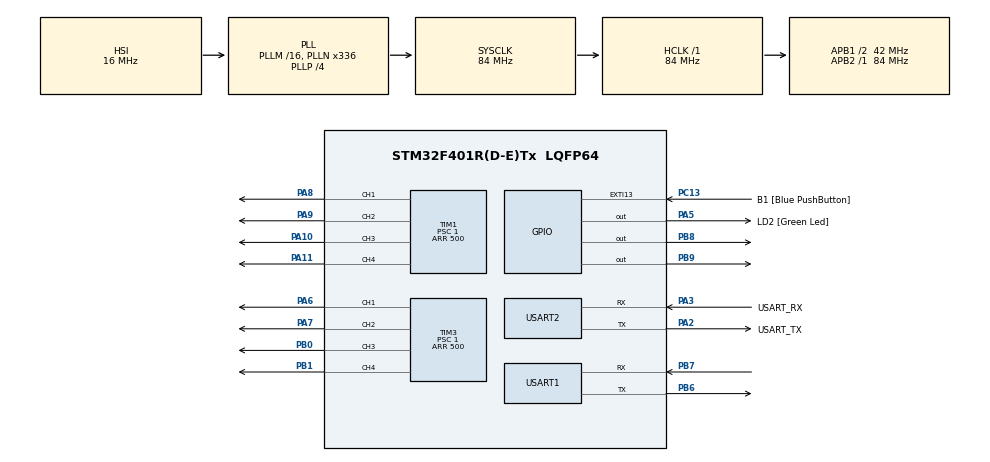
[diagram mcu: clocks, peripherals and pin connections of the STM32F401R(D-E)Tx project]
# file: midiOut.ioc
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Mcu.Family=STM32F4
Mcu.Name=STM32F401R(D-E)Tx
Mcu.Package=LQFP64
NVIC.PriorityGroup=NVIC_PRIORITYGROUP_0
NVIC.TIM1_UP_TIM10_IRQn=true\:0\:0\:false\:false\:true\:true
NVIC.USART2_IRQn=true\:0\:0\:false\:false\:true\:true
PA10.Signal=S_TIM1_CH3
PA11.Signal=S_TIM1_CH4
PA13.GPIO_Label=TMS
PA13.Signal=SYS_JTMS-SWDIO
PA14.GPIO_Label=TCK
PA14.Signal=SYS_JTCK-SWCLK
PA2.GPIO_Label=USART_TX
PA2.GPIO_Mode=GPIO_MODE_AF_PP
PA2.GPIO_PuPd=GPIO_NOPULL
PA2.GPIO_Speed=GPIO_SPEED_FREQ_LOW
PA2.Mode=Asynchronous
PA2.Signal=USART2_TX
PA3.GPIO_Label=USART_RX
PA3.GPIO_Mode=GPIO_MODE_AF_PP
PA3.GPIO_PuPd=GPIO_NOPULL
PA3.GPIO_Speed=GPIO_SPEED_FREQ_LOW
PA3.Mode=Asynchronous
PA3.Signal=USART2_RX
PA5.GPIO_Label=LD2 [Green Led]
PA5.GPIO_Mode=GPIO_MODE_OUTPUT_PP
PA5.GPIO_PuPd=GPIO_NOPULL
PA5.GPIO_Speed=GPIO_SPEED_FREQ_LOW
PA5.Signal=GPIO_Output
PA6.Signal=S_TIM3_CH1
PA7.Signal=S_TIM3_CH2
PA8.Signal=S_TIM1_CH1
PA9.Signal=S_TIM1_CH2
PB0.Signal=S_TIM3_CH3
PB1.Signal=S_TIM3_CH4
PB3.GPIO_Label=SWO
PB3.Signal=SYS_JTDO-SWO
PB6.Mode=Asynchronous
PB6.Signal=USART1_TX
PB7.Mode=Asynchronous
PB7.Signal=USART1_RX
PB8.Signal=GPIO_Output
PB9.Signal=GPIO_Output
PC13-ANTI_TAMP.GPIO_Label=B1 [Blue PushButton]
PC13-ANTI_TAMP.GPIO_ModeDefaultEXTI=GPIO_MODE_IT_FALLING
PC13-ANTI_TAMP.GPIO_PuPd=GPIO_NOPULL
PC13-ANTI_TAMP.Signal=GPXTI13
PC14-OSC32_IN.Signal=RCC_OSC32_IN
PC15-OSC32_OUT.Signal=RCC_OSC32_OUT
PH0\ -\ OSC_IN.Signal=RCC_OSC_IN
PH1\ -\ OSC_OUT.Signal=RCC_OSC_OUT
ProjectManager.HeapSize=0x200
ProjectManager.StackSize=0x400
ProjectManager.TargetToolchain=SW4STM32
RCC.AHBFreq_Value=84000000
RCC.APB1CLKDivider=RCC_HCLK_DIV2
RCC.APB1Freq_Value=42000000
RCC.APB1TimFreq_Value=84000000
RCC.APB2Freq_Value=84000000
RCC.APB2TimFreq_Value=84000000
RCC.CortexFreq_Value=84000000
RCC.HCLKFreq_Value=84000000
RCC.HSE_VALUE=8000000
RCC.HSI_VALUE=16000000
RCC.LSE_VALUE=32768
RCC.PLLN=336
RCC.PLLP=RCC_PLLP_DIV4
RCC.PLLQ=7
RCC.SYSCLKFreq_VALUE=84000000
RCC.SYSCLKSource=RCC_SYSCLKSOURCE_PLLCLK
RCC.VCOOutputFreq_Value=336000000
SH.S_TIM1_CH1.0=TIM1_CH1,PWM Generation1 CH1
SH.S_TIM1_CH2.0=TIM1_CH2,PWM Generation2 CH2
SH.S_TIM1_CH3.0=TIM1_CH3,PWM Generation3 CH3
SH.S_TIM1_CH4.0=TIM1_CH4,PWM Generation4 CH4
SH.S_TIM3_CH1.0=TIM3_CH1,PWM Generation1 CH1
SH.S_TIM3_CH2.0=TIM3_CH2,PWM Generation2 CH2
SH.S_TIM3_CH3.0=TIM3_CH3,PWM Generation3 CH3
SH.S_TIM3_CH4.0=TIM3_CH4,PWM Generation4 CH4
TIM1.Channel-PWM\ Generation1\ CH1=TIM_CHANNEL_1
TIM1.Channel-PWM\ Generation2\ CH2=TIM_CHANNEL_2
TIM1.Channel-PWM\ Generation3\ CH3=TIM_CHANNEL_3
TIM1.Channel-PWM\ Generation4\ CH4=TIM_CHANNEL_4
TIM1.CounterMode=TIM_COUNTERMODE_UP
TIM1.OCFastMode_PWM-PWM\ Generation1\ CH1=TIM_OCFAST_DISABLE
TIM1.OCFastMode_PWM-PWM\ Generation2\ CH2=TIM_OCFAST_DISABLE
TIM1.OCFastMode_PWM-PWM\ Generation3\ CH3=TIM_OCFAST_DISABLE
TIM1.OCFastMode_PWM-PWM\ Generation4\ CH4=TIM_OCFAST_DISABLE
TIM1.OCPolarity_1=TIM_OCPOLARITY_HIGH
TIM1.OCPolarity_2=TIM_OCPOLARITY_HIGH
TIM1.OCPolarity_3=TIM_OCPOLARITY_HIGH
TIM1.OCPolarity_4=TIM_OCPOLARITY_HIGH
TIM1.Period=500
TIM1.Prescaler=1
TIM1.Pulse-PWM\ Generation1\ CH1=500
TIM1.Pulse-PWM\ Generation2\ CH2=500
TIM1.Pulse-PWM\ Generation3\ CH3=500
TIM1.Pulse-PWM\ Generation4\ CH4=500
TIM10.Period=2000
TIM10.Prescaler=1
TIM3.Channel-PWM\ Generation1\ CH1=TIM_CHANNEL_1
TIM3.Channel-PWM\ Generation2\ CH2=TIM_CHANNEL_2
TIM3.Channel-PWM\ Generation3\ CH3=TIM_CHANNEL_3
TIM3.Channel-PWM\ Generation4\ CH4=TIM_CHANNEL_4
TIM3.CounterMode=TIM_COUNTERMODE_UP
TIM3.OCFastMode_PWM-PWM\ Generation1\ CH1=TIM_OCFAST_DISABLE
TIM3.OCFastMode_PWM-PWM\ Generation2\ CH2=TIM_OCFAST_DISABLE
TIM3.OCFastMode_PWM-PWM\ Generation3\ CH3=TIM_OCFAST_DISABLE
TIM3.OCFastMode_PWM-PWM\ Generation4\ CH4=TIM_OCFAST_DISABLE
TIM3.OCPolarity_1=TIM_OCPOLARITY_HIGH
TIM3.OCPolarity_2=TIM_OCPOLARITY_HIGH
TIM3.OCPolarity_3=TIM_OCPOLARITY_HIGH
TIM3.OCPolarity_4=TIM_OCPOLARITY_HIGH
TIM3.Period=500
TIM3.Prescaler=1
TIM3.Pulse-PWM\ Generation1\ CH1=500
TIM3.Pulse-PWM\ Generation2\ CH2=500
TIM3.Pulse-PWM\ Generation3\ CH3=500
TIM3.Pulse-PWM\ Generation4\ CH4=500
USART1.VirtualMode=VM_ASYNC
USART2.VirtualMode=VM_ASYNC
VP_TIM10_VS_ClockSourceINT.Mode=Enable_Timer
VP_TIM1_VS_ClockSourceINT.Mode=Internal
VP_TIM3_VS_ClockSourceINT.Mode=Internal
board=NUCLEO-F401RE

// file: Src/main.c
/**
  ******************************************************************************
  * File Name          : main.c
  * Description        : Main program body
  ******************************************************************************
  ** This notice applies to any and all portions of this file
  * that are not between comment pairs USER CODE BEGIN and
  * USER CODE END. Other portions of this file, whether
  * inserted by the user or by software development tools
  * are owned by their respective copyright owners.
  *
  * COPYRIGHT(c) 2018 STMicroelectronics
  *
  * Redistribution and use in source and binary forms, with or without modification,
  * are permitted provided that the following conditions are met:
  *   1. Redistributions of source code must retain the above copyright notice,
  *      this list of conditions and the following disclaimer.
  *   2. Redistributions in binary form must reproduce the above copyright notice,
  *      this list of conditions and the following disclaimer in the documentation
  *      and/or other materials provided with the distribution.
  *   3. Neither the name of STMicroelectronics nor the names of its contributors
  *      may be used to endorse or promote products derived from this software
  *      without specific prior written permission.
  *
  * THIS SOFTWARE IS PROVIDED BY THE COPYRIGHT HOLDERS AND CONTRIBUTORS "AS IS"
  * AND ANY EXPRESS OR IMPLIED WARRANTIES, INCLUDING, BUT NOT LIMITED TO, THE
  * IMPLIED WARRANTIES OF MERCHANTABILITY AND FITNESS FOR A PARTICULAR PURPOSE ARE
  * DISCLAIMED. IN NO EVENT SHALL THE COPYRIGHT HOLDER OR CONTRIBUTORS BE LIABLE
  * FOR ANY DIRECT, INDIRECT, INCIDENTAL, SPECIAL, EXEMPLARY, OR CONSEQUENTIAL
  * DAMAGES (INCLUDING, BUT NOT LIMITED TO, PROCUREMENT OF SUBSTITUTE GOODS OR
  * SERVICES; LOSS OF USE, DATA, OR PROFITS; OR BUSINESS INTERRUPTION) HOWEVER
  * CAUSED AND ON ANY THEORY OF LIABILITY, WHETHER IN CONTRACT, STRICT LIABILITY,
  * OR TORT (INCLUDING NEGLIGENCE OR OTHERWISE) ARISING IN ANY WAY OUT OF THE USE
  * OF THIS SOFTWARE, EVEN IF ADVISED OF THE POSSIBILITY OF SUCH DAMAGE.
  *
  ******************************************************************************
  */

#include "main.h"
#include "stm32f4xx_hal.h"

/* USER CODE BEGIN Includes */
#include <stdio.h>
#include <stdlib.h>
#include <stdarg.h>
#include "math.h"
#include "waveData.h"

/* USER CODE END Includes */

TIM_HandleTypeDef htim1;
TIM_HandleTypeDef htim3;
TIM_HandleTypeDef htim10;

UART_HandleTypeDef huart1;
UART_HandleTypeDef huart2;

/* USER CODE BEGIN PV */
/* Private variables ---------------------------------------------------------*/

#define _2_M_PI 6.283185307179586476925286766559

#define CONTROL_PERIOD  0.000047619047619
#define DUTY_MAX 500

const float note2freq[128] = {8.175799f, 8.661957f, 9.177024f, 9.722718f, 10.300861f, 10.913383f, 11.562325f, 12.249857f, 12.978271f, 13.750000f, 14.567617f, 15.433853f, 16.351599f, 17.323914f, 18.354048f, 19.445436f, 20.601723f, 21.826765f, 23.124651f, 24.499714f, 25.956543f, 27.500000f, 29.135235f, 30.867706f, 32.703197f, 34.647827f, 36.708096f, 38.890873f, 41.203445f, 43.653530f, 46.249302f, 48.999428f, 51.913086f, 55.000000f, 58.270470f, 61.735413f, 65.406395f, 69.295654f, 73.416191f, 77.781746f, 82.406891f, 87.307060f, 92.498604f, 97.998856f, 103.826172f, 110.000000f, 116.540939f, 123.470825f, 130.812790f, 138.591309f, 146.832382f, 155.563492f, 164.813782f, 174.614120f, 184.997208f, 195.997711f, 207.652344f, 220.000000f, 233.081879f, 246.941650f, 261.625580f, 277.182617f, 293.664764f, 311.126984f, 329.627563f, 349.228241f, 369.994415f, 391.995422f, 415.304688f, 440.000000f, 466.163757f, 493.883301f, 523.251160f, 554.365234f, 587.329529f, 622.253967f, 659.255127f, 698.456482f, 739.988831f, 783.990845f, 830.609375f, 880.000000f, 932.327515f, 987.766602f, 1046.502319f, 1108.730469f, 1174.659058f, 1244.507935f, 1318.510254f, 1396.912964f, 1479.977661f, 1567.981689f, 1661.218750f, 1760.000000f, 1864.655029f, 1975.533203f, 2093.004639f, 2217.460938f, 2349.318115f, 2489.015869f, 2637.020508f, 2793.825928f, 2959.955322f, 3135.963379f, 3322.437500f, 3520.000000f, 3729.310059f, 3951.066406f, 4186.009277f, 4434.921875f, 4698.636230f, 4978.031738f, 5274.041016f, 5587.651855f, 5919.910645f, 6271.926758f, 6644.875000f, 7040.000000f, 7458.620117f, 7902.132813f, 8372.018555f, 8869.843750f, 9397.272461f, 9956.063477f, 10548.082031f, 11175.303711f, 11839.821289f, 12543.853516f};

extern const float wave[360];

//float freq[8] = {261.6255653, 293.6647679, 329.6275569, 349.2282314, 391.995436, 440, 493.8833013, 523.2511306};
float freq[8] = {0.0, 0.0, 0, 0, 0, 0, 0, 0};
int noteNum[8] = {-1, -1, -1, -1, -1, -1, -1, -1};

//float amplitude[8] = {1.0, 1.0, 1.0, 1.0, 1.0, 1.0, 1.0, 1.0};
float amplitude[8] = {0};

float phase[8] = {0.0, 0.0, 0.0, 0.0, 0.0, 0.0, 0.0, 0.0};
int phase_e5[8] = {0, 0, 0, 0, 0, 0, 0, 0};

float deltaPhase[8] = {0};
int deltaPhase_e5[8] = {0};

int refreshFlg = 0;

int midiReceiveByteFlg = 0;
uint8_t midiReceiveData;

int noteVelocity[128] = {0};

/* USER CODE END PV */

void SystemClock_Config(void);
static void MX_GPIO_Init(void);
static void MX_TIM3_Init(void);
static void MX_USART2_UART_Init(void);
static void MX_TIM1_Init(void);
static void MX_TIM10_Init(void);
static void MX_USART1_UART_Init(void);
void HAL_TIM_MspPostInit(TIM_HandleTypeDef *htim);

/* USER CODE BEGIN PFP */
/* Private function prototypes -----------------------------------------------*/

void setPwm(int *duty);

int32_t UartPrintf(UART_HandleTypeDef *huart, char *format, ...);

int setSound(int noteNumber, int velocity);

float getWave_e5(int rad_e5);

/* USER CODE END PFP */

int main(void)
{

  /* USER CODE BEGIN 1 */
	int channel = 0;
	int duty[8] = {0};
	int byte_num = 0;
	uint8_t midiReceiveBuf[3];
	char RCData;

  /* USER CODE END 1 */

  /* MCU Configuration----------------------------------------------------------*/

  /* Reset of all peripherals, Initializes the Flash interface and the Systick. */
  HAL_Init();

  /* Configure the system clock */
  SystemClock_Config();

  /* Initialize all configured peripherals */
  MX_GPIO_Init();
  MX_TIM3_Init();
  MX_USART2_UART_Init();
  MX_TIM1_Init();
  MX_TIM10_Init();
  MX_USART1_UART_Init();

  /* USER CODE BEGIN 2 */

  for(channel = 0; channel < 8; channel++){
	  deltaPhase[channel] = 2 * M_PI * freq[channel] * CONTROL_PERIOD;
  }
  for(channel = 0; channel < 8; channel++){
	  deltaPhase_e5[channel] = 2 * M_PI * freq[channel] * CONTROL_PERIOD * 100000;
  }

  UartPrintf(&huart1, "Hello Debug Port...\r\n");

  HAL_UART_Receive_IT(&huart2, &midiReceiveData, 1);

	HAL_TIM_PWM_Start_IT(&htim1, TIM_CHANNEL_1);
	HAL_TIM_PWM_Start_IT(&htim1, TIM_CHANNEL_2);
	HAL_TIM_PWM_Start_IT(&htim1, TIM_CHANNEL_3);
	HAL_TIM_PWM_Start_IT(&htim1, TIM_CHANNEL_4);
	HAL_TIM_PWM_Start_IT(&htim3, TIM_CHANNEL_1);
	HAL_TIM_PWM_Start_IT(&htim3, TIM_CHANNEL_2);
	HAL_TIM_PWM_Start_IT(&htim3, TIM_CHANNEL_3);
	HAL_TIM_PWM_Start_IT(&htim3, TIM_CHANNEL_4);

	HAL_TIM_Base_Start_IT(&htim10);

  /* USER CODE END 2 */

  /* Infinite loop */
  while (1)
  {

  /* USER CODE BEGIN 3 */
	  if(midiReceiveByteFlg != 0){

		  RCData = midiReceiveData;

		  if((RCData & 0b10000000) != 0){ // 1バイト目
			  byte_num = 1;
			  midiReceiveBuf[0] = RCData;
		  }
		  else if(byte_num == 1){ // 2バイト目
			  byte_num = 2;
			  midiReceiveBuf[1] = RCData;
		  }
		  else if(byte_num == 2){ // 3バイト目
			  byte_num = 0;
			  midiReceiveBuf[2] = RCData;
			  //全データの受信が完了

			  if((midiReceiveBuf[0] & 0xf0) == 0x90){
				  setSound(midiReceiveBuf[1], midiReceiveBuf[2]);
			  }else if((midiReceiveBuf[0] & 0xf0) == 0x80){
				  setSound(midiReceiveBuf[1], 0);
			  }

		  }
		  else{ //例外
			  byte_num = 0;
		  }

		  midiReceiveByteFlg = 0;
	  }

	  if(refreshFlg != 0){
		  HAL_GPIO_WritePin(GPIOB, GPIO_PIN_9, GPIO_PIN_SET);

		  duty[0] = 0;
		  for(channel = 0; channel < 8; channel++){
			  duty[0] += (DUTY_MAX * amplitude[channel] * getWave_e5(phase_e5[channel]) / 2 + DUTY_MAX / 2) / 8.0;
			  //duty[channel] = DUTY_MAX * amplitude[channel] * getWave_e5(phase_e5[channel]) / 2 + DUTY_MAX / 2;
			  phase_e5[channel] += deltaPhase_e5[channel];
			  if(phase_e5[channel] >= 628318)phase_e5[channel] -= 628318;
		  }
		  setPwm(duty);

		  HAL_GPIO_WritePin(GPIOB, GPIO_PIN_9, GPIO_PIN_RESET);

		  refreshFlg = 0;

	  }

  }
  /* USER CODE END 3 */

}

/** System Clock Configuration
*/
void SystemClock_Config(void)
{

  RCC_OscInitTypeDef RCC_OscInitStruct;
  RCC_ClkInitTypeDef RCC_ClkInitStruct;

    /**Configure the main internal regulator output voltage
    */
  __HAL_RCC_PWR_CLK_ENABLE();

  __HAL_PWR_VOLTAGESCALING_CONFIG(PWR_REGULATOR_VOLTAGE_SCALE2);

    /**Initializes the CPU, AHB and APB busses clocks
    */
  RCC_OscInitStruct.OscillatorType = RCC_OSCILLATORTYPE_HSI;
  RCC_OscInitStruct.HSIState = RCC_HSI_ON;
  RCC_OscInitStruct.HSICalibrationValue = 16;
  RCC_OscInitStruct.PLL.PLLState = RCC_PLL_ON;
  RCC_OscInitStruct.PLL.PLLSource = RCC_PLLSOURCE_HSI;
  RCC_OscInitStruct.PLL.PLLM = 16;
  RCC_OscInitStruct.PLL.PLLN = 336;
  RCC_OscInitStruct.PLL.PLLP = RCC_PLLP_DIV4;
  RCC_OscInitStruct.PLL.PLLQ = 7;
  if (HAL_RCC_OscConfig(&RCC_OscInitStruct) != HAL_OK)
  {
    _Error_Handler(__FILE__, __LINE__);
  }

    /**Initializes the CPU, AHB and APB busses clocks
    */
  RCC_ClkInitStruct.ClockType = RCC_CLOCKTYPE_HCLK|RCC_CLOCKTYPE_SYSCLK
                              |RCC_CLOCKTYPE_PCLK1|RCC_CLOCKTYPE_PCLK2;
  RCC_ClkInitStruct.SYSCLKSource = RCC_SYSCLKSOURCE_PLLCLK;
  RCC_ClkInitStruct.AHBCLKDivider = RCC_SYSCLK_DIV1;
  RCC_ClkInitStruct.APB1CLKDivider = RCC_HCLK_DIV2;
  RCC_ClkInitStruct.APB2CLKDivider = RCC_HCLK_DIV1;

  if (HAL_RCC_ClockConfig(&RCC_ClkInitStruct, FLASH_LATENCY_2) != HAL_OK)
  {
    _Error_Handler(__FILE__, __LINE__);
  }

    /**Configure the Systick interrupt time
    */
  HAL_SYSTICK_Config(HAL_RCC_GetHCLKFreq()/1000);

    /**Configure the Systick
    */
  HAL_SYSTICK_CLKSourceConfig(SYSTICK_CLKSOURCE_HCLK);

  /* SysTick_IRQn interrupt configuration */
  HAL_NVIC_SetPriority(SysTick_IRQn, 0, 0);
}

/* TIM1 init function */
static void MX_TIM1_Init(void)
{

  TIM_ClockConfigTypeDef sClockSourceConfig;
  TIM_MasterConfigTypeDef sMasterConfig;
  TIM_OC_InitTypeDef sConfigOC;
  TIM_BreakDeadTimeConfigTypeDef sBreakDeadTimeConfig;

  htim1.Instance = TIM1;
  htim1.Init.Prescaler = 1;
  htim1.Init.CounterMode = TIM_COUNTERMODE_UP;
  htim1.Init.Period = 500;
  htim1.Init.ClockDivision = TIM_CLOCKDIVISION_DIV1;
  htim1.Init.RepetitionCounter = 0;
  if (HAL_TIM_Base_Init(&htim1) != HAL_OK)
  {
    _Error_Handler(__FILE__, __LINE__);
  }

  sClockSourceConfig.ClockSource = TIM_CLOCKSOURCE_INTERNAL;
  if (HAL_TIM_ConfigClockSource(&htim1, &sClockSourceConfig) != HAL_OK)
  {
    _Error_Handler(__FILE__, __LINE__);
  }

  if (HAL_TIM_PWM_Init(&htim1) != HAL_OK)
  {
    _Error_Handler(__FILE__, __LINE__);
  }

  sMasterConfig.MasterOutputTrigger = TIM_TRGO_RESET;
  sMasterConfig.MasterSlaveMode = TIM_MASTERSLAVEMODE_DISABLE;
  if (HAL_TIMEx_MasterConfigSynchronization(&htim1, &sMasterConfig) != HAL_OK)
  {
    _Error_Handler(__FILE__, __LINE__);
  }

  sConfigOC.OCMode = TIM_OCMODE_PWM1;
  sConfigOC.Pulse = 500;
  sConfigOC.OCPolarity = TIM_OCPOLARITY_HIGH;
  sConfigOC.OCNPolarity = TIM_OCNPOLARITY_HIGH;
  sConfigOC.OCFastMode = TIM_OCFAST_DISABLE;
  sConfigOC.OCIdleState = TIM_OCIDLESTATE_RESET;
  sConfigOC.OCNIdleState = TIM_OCNIDLESTATE_RESET;
  if (HAL_TIM_PWM_ConfigChannel(&htim1, &sConfigOC, TIM_CHANNEL_1) != HAL_OK)
  {
    _Error_Handler(__FILE__, __LINE__);
  }

  if (HAL_TIM_PWM_ConfigChannel(&htim1, &sConfigOC, TIM_CHANNEL_2) != HAL_OK)
  {
    _Error_Handler(__FILE__, __LINE__);
  }

  if (HAL_TIM_PWM_ConfigChannel(&htim1, &sConfigOC, TIM_CHANNEL_3) != HAL_OK)
  {
    _Error_Handler(__FILE__, __LINE__);
  }

  if (HAL_TIM_PWM_ConfigChannel(&htim1, &sConfigOC, TIM_CHANNEL_4) != HAL_OK)
  {
    _Error_Handler(__FILE__, __LINE__);
  }

  sBreakDeadTimeConfig.OffStateRunMode = TIM_OSSR_DISABLE;
  sBreakDeadTimeConfig.OffStateIDLEMode = TIM_OSSI_DISABLE;
  sBreakDeadTimeConfig.LockLevel = TIM_LOCKLEVEL_OFF;
  sBreakDeadTimeConfig.DeadTime = 0;
  sBreakDeadTimeConfig.BreakState = TIM_BREAK_DISABLE;
  sBreakDeadTimeConfig.BreakPolarity = TIM_BREAKPOLARITY_HIGH;
  sBreakDeadTimeConfig.AutomaticOutput = TIM_AUTOMATICOUTPUT_DISABLE;
  if (HAL_TIMEx_ConfigBreakDeadTime(&htim1, &sBreakDeadTimeConfig) != HAL_OK)
  {
    _Error_Handler(__FILE__, __LINE__);
  }

  HAL_TIM_MspPostInit(&htim1);

}

/* TIM3 init function */
static void MX_TIM3_Init(void)
{

  TIM_ClockConfigTypeDef sClockSourceConfig;
  TIM_MasterConfigTypeDef sMasterConfig;
  TIM_OC_InitTypeDef sConfigOC;

  htim3.Instance = TIM3;
  htim3.Init.Prescaler = 1;
  htim3.Init.CounterMode = TIM_COUNTERMODE_UP;
  htim3.Init.Period = 500;
  htim3.Init.ClockDivision = TIM_CLOCKDIVISION_DIV1;
  if (HAL_TIM_Base_Init(&htim3) != HAL_OK)
  {
    _Error_Handler(__FILE__, __LINE__);
  }

  sClockSourceConfig.ClockSource = TIM_CLOCKSOURCE_INTERNAL;
  if (HAL_TIM_ConfigClockSource(&htim3, &sClockSourceConfig) != HAL_OK)
  {
    _Error_Handler(__FILE__, __LINE__);
  }

  if (HAL_TIM_PWM_Init(&htim3) != HAL_OK)
  {
    _Error_Handler(__FILE__, __LINE__);
  }

  sMasterConfig.MasterOutputTrigger = TIM_TRGO_RESET;
  sMasterConfig.MasterSlaveMode = TIM_MASTERSLAVEMODE_DISABLE;
  if (HAL_TIMEx_MasterConfigSynchronization(&htim3, &sMasterConfig) != HAL_OK)
  {
    _Error_Handler(__FILE__, __LINE__);
  }

  sConfigOC.OCMode = TIM_OCMODE_PWM1;
  sConfigOC.Pulse = 500;
  sConfigOC.OCPolarity = TIM_OCPOLARITY_HIGH;
  sConfigOC.OCFastMode = TIM_OCFAST_DISABLE;
  if (HAL_TIM_PWM_ConfigChannel(&htim3, &sConfigOC, TIM_CHANNEL_1) != HAL_OK)
  {
    _Error_Handler(__FILE__, __LINE__);
  }

  if (HAL_TIM_PWM_ConfigChannel(&htim3, &sConfigOC, TIM_CHANNEL_2) != HAL_OK)
  {
    _Error_Handler(__FILE__, __LINE__);
  }

  if (HAL_TIM_PWM_ConfigChannel(&htim3, &sConfigOC, TIM_CHANNEL_3) != HAL_OK)
  {
    _Error_Handler(__FILE__, __LINE__);
  }

  if (HAL_TIM_PWM_ConfigChannel(&htim3, &sConfigOC, TIM_CHANNEL_4) != HAL_OK)
  {
    _Error_Handler(__FILE__, __LINE__);
  }

  HAL_TIM_MspPostInit(&htim3);

}

/* TIM10 init function */
static void MX_TIM10_Init(void)
{

  htim10.Instance = TIM10;
  htim10.Init.Prescaler = 1;
  htim10.Init.CounterMode = TIM_COUNTERMODE_UP;
  htim10.Init.Period = 2000;
  htim10.Init.ClockDivision = TIM_CLOCKDIVISION_DIV1;
  if (HAL_TIM_Base_Init(&htim10) != HAL_OK)
  {
    _Error_Handler(__FILE__, __LINE__);
  }

}

/* USART1 init function */
static void MX_USART1_UART_Init(void)
{

  huart1.Instance = USART1;
  huart1.Init.BaudRate = 115200;
  huart1.Init.WordLength = UART_WORDLENGTH_8B;
  huart1.Init.StopBits = UART_STOPBITS_1;
  huart1.Init.Parity = UART_PARITY_NONE;
  huart1.Init.Mode = UART_MODE_TX_RX;
  huart1.Init.HwFlowCtl = UART_HWCONTROL_NONE;
  huart1.Init.OverSampling = UART_OVERSAMPLING_16;
  if (HAL_UART_Init(&huart1) != HAL_OK)
  {
    _Error_Handler(__FILE__, __LINE__);
  }

}

/* USART2 init function */
static void MX_USART2_UART_Init(void)
{

  huart2.Instance = USART2;
  huart2.Init.BaudRate = 115200;
  huart2.Init.WordLength = UART_WORDLENGTH_8B;
  huart2.Init.StopBits = UART_STOPBITS_1;
  huart2.Init.Parity = UART_PARITY_NONE;
  huart2.Init.Mode = UART_MODE_TX_RX;
  huart2.Init.HwFlowCtl = UART_HWCONTROL_NONE;
  huart2.Init.OverSampling = UART_OVERSAMPLING_16;
  if (HAL_UART_Init(&huart2) != HAL_OK)
  {
    _Error_Handler(__FILE__, __LINE__);
  }

}

/** Configure pins as
        * Analog
        * Input
        * Output
        * EVENT_OUT
        * EXTI
*/
static void MX_GPIO_Init(void)
{

  GPIO_InitTypeDef GPIO_InitStruct;

  /* GPIO Ports Clock Enable */
  __HAL_RCC_GPIOC_CLK_ENABLE();
  __HAL_RCC_GPIOH_CLK_ENABLE();
  __HAL_RCC_GPIOA_CLK_ENABLE();
  __HAL_RCC_GPIOB_CLK_ENABLE();

  /*Configure GPIO pin Output Level */
  HAL_GPIO_WritePin(LD2_GPIO_Port, LD2_Pin, GPIO_PIN_RESET);

  /*Configure GPIO pin Output Level */
  HAL_GPIO_WritePin(GPIOB, GPIO_PIN_8|GPIO_PIN_9, GPIO_PIN_RESET);

  /*Configure GPIO pin : B1_Pin */
  GPIO_InitStruct.Pin = B1_Pin;
  GPIO_InitStruct.Mode = GPIO_MODE_IT_FALLING;
  GPIO_InitStruct.Pull = GPIO_NOPULL;
  HAL_GPIO_Init(B1_GPIO_Port, &GPIO_InitStruct);

  /*Configure GPIO pin : LD2_Pin */
  GPIO_InitStruct.Pin = LD2_Pin;
  GPIO_InitStruct.Mode = GPIO_MODE_OUTPUT_PP;
  GPIO_InitStruct.Pull = GPIO_NOPULL;
  GPIO_InitStruct.Speed = GPIO_SPEED_FREQ_LOW;
  HAL_GPIO_Init(LD2_GPIO_Port, &GPIO_InitStruct);

  /*Configure GPIO pins : PB8 PB9 */
  GPIO_InitStruct.Pin = GPIO_PIN_8|GPIO_PIN_9;
  GPIO_InitStruct.Mode = GPIO_MODE_OUTPUT_PP;
  GPIO_InitStruct.Pull = GPIO_NOPULL;
  GPIO_InitStruct.Speed = GPIO_SPEED_FREQ_LOW;
  HAL_GPIO_Init(GPIOB, &GPIO_InitStruct);

}

/* USER CODE BEGIN 4 */

void HAL_TIM_PeriodElapsedCallback (TIM_HandleTypeDef *htim){
	if(htim->Instance == TIM10){
		HAL_GPIO_TogglePin(GPIOB, GPIO_PIN_8);
		refreshFlg = 1;
	}
}

void setPwm(int *duty){

	if(duty[0] >= 0 && duty[0] <= DUTY_MAX)__HAL_TIM_SET_COMPARE(&htim1, TIM_CHANNEL_1, duty[0]);
	if(duty[1] >= 0 && duty[1] <= DUTY_MAX)__HAL_TIM_SET_COMPARE(&htim1, TIM_CHANNEL_2, duty[1]);
	if(duty[2] >= 0 && duty[2] <= DUTY_MAX)__HAL_TIM_SET_COMPARE(&htim1, TIM_CHANNEL_3, duty[2]);
	if(duty[3] >= 0 && duty[3] <= DUTY_MAX)__HAL_TIM_SET_COMPARE(&htim1, TIM_CHANNEL_4, duty[3]);
	if(duty[4] >= 0 && duty[4] <= DUTY_MAX)__HAL_TIM_SET_COMPARE(&htim3, TIM_CHANNEL_1, duty[4]);
	if(duty[5] >= 0 && duty[5] <= DUTY_MAX)__HAL_TIM_SET_COMPARE(&htim3, TIM_CHANNEL_2, duty[5]);
	if(duty[6] >= 0 && duty[6] <= DUTY_MAX)__HAL_TIM_SET_COMPARE(&htim3, TIM_CHANNEL_3, duty[6]);
	if(duty[7] >= 0 && duty[7] <= DUTY_MAX)__HAL_TIM_SET_COMPARE(&htim3, TIM_CHANNEL_4, duty[7]);

}

void HAL_UART_RxCpltCallback(UART_HandleTypeDef *huart){

	if( huart->Instance == USART2){
		midiReceiveByteFlg = 1;
		HAL_UART_Receive_IT(huart, &midiReceiveData, 1);
	}

}

int32_t UartPrintf(UART_HandleTypeDef *huart, char *format, ...){
	int32_t TransStrLength;
	char TransStr[256];

	va_list args;
	va_start(args, format);
	TransStrLength = vsprintf(TransStr, format, args);
	va_end(args);

	HAL_UART_Transmit(huart, (uint8_t*)TransStr, TransStrLength, 50);

	return TransStrLength;
}

int setSound(int noteNumber, int velocity){
    int count;

    velocity &= 0b01111111;

    if(velocity == 0){ // ノートオフ
    	for(count = 0; count < 8; count++){
    		if(noteNum[count] == noteNumber){
    			noteNum[count] = -1;
    			noteVelocity[noteNumber] = 0;
    			freq[count] = 0.0;
    			deltaPhase_e5[count] = 0.0;
    			amplitude[count] = 0.0;
    			break;
    		}
    	}
    }
    else{ // ノートオン
    	if(noteVelocity[noteNumber] != 0)return -1;
    	for(count = 0; count < 8; count++){
    		if(noteNum[count] == -1){
    			noteNum[count] = noteNumber;
    			noteVelocity[noteNumber] = velocity;
    			freq[count] = note2freq[noteNumber];
    			deltaPhase_e5[count] = 2 * M_PI * freq[count] * CONTROL_PERIOD * 100000;;
    			amplitude[count] = velocity / 127.0;
    			break;
    		}
    	}

    }

    return 0;
}

float getWave_e5(int rad_e5){
	return wave[(int)(rad_e5 * 0.00057295779513)];
}

/* USER CODE END 4 */

void _Error_Handler(char * file, int line)
{
  while(1)
  {
  }
}

/************************ (C) COPYRIGHT STMicroelectronics *****END OF FILE****/
